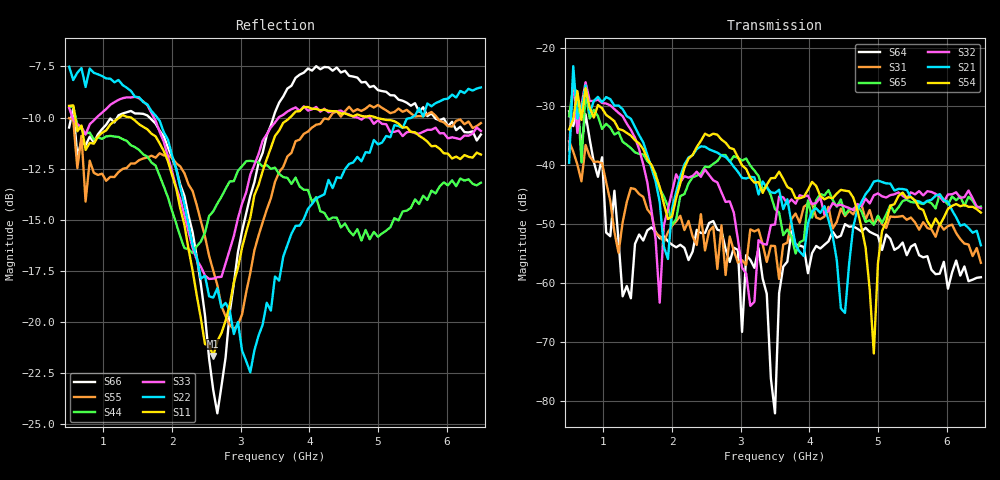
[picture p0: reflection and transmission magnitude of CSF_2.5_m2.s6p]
!Keysight Technologies,M9804A,MY58100912,A.14.10.03
!Date: Thursday, April 27, 2023 10:28:33
!Correction: S11(C  6-Port  )
!S12(C  6-Port  )
!S13(C  6-Port  )
!S14(C  6-Port  )
!S15(C  6-Port  )
!S16(C  6-Port  )
!S21(C  6-Port  )
!S22(C  6-Port  )
!S23(C  6-Port  )
!S24(C  6-Port  )
!S25(C  6-Port  )
!S26(C  6-Port  )
!S31(C  6-Port  )
!S32(C  6-Port  )
!S33(C  6-Port  )
!S34(C  6-Port  )
!S35(C  6-Port  )
!S36(C  6-Port  )
!S41(C  6-Port  )
!S42(C  6-Port  )
!S43(C  6-Port  )
!S44(C  6-Port  )
!S45(C  6-Port  )
!S46(C  6-Port  )
!S51(C  6-Port  )
!S52(C  6-Port  )
!S53(C  6-Port  )
!S54(C  6-Port  )
!S55(C  6-Port  )
!S56(C  6-Port  )
!S61(C  6-Port  )
!S62(C  6-Port  )
!S63(C  6-Port  )
!S64(C  6-Port  )
!S65(C  6-Port  )
!S66(C  6-Port  )
!S6P File: Measurement: :
# Hz S  RI  R 50
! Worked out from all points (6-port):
!   101 points, 500 MHz to 6.5 GHz, reference 50 ohm
!   strongest paths, dB at 500 MHz, 2 GHz, 3.5 GHz, 5 GHz, 6.5 GHz:
!     S54: -33.9, -48.7, -42.1, -56.6, -48.0
!     S21: -39.6, -47.3, -44.7, -42.6, -53.6
!     S32: -37.5, -44.4, -50.0, -44.8, -47.3
!     S65: -31.7, -50.1, -47.4, -48.5, -47.0
!     S31: -35.9, -50.2, -53.7, -49.0, -56.5
!     S64: -30.8, -53.5, -82.1, -51.9, -59.0
!   lowest |S11| = -21.7 dB at 2.6 GHz (marker M1), VSWR 1.18, Z = 42.6 + j2.05 ohm
!   |S11| at or under -10 dB: 588.2 MHz to 1.233 GHz (644.7 MHz wide, 70.8 % of centre); 1.402 GHz to 3.718 GHz (2.315 GHz wide, 90.4 % of centre); 4.97 GHz to end of sweep
